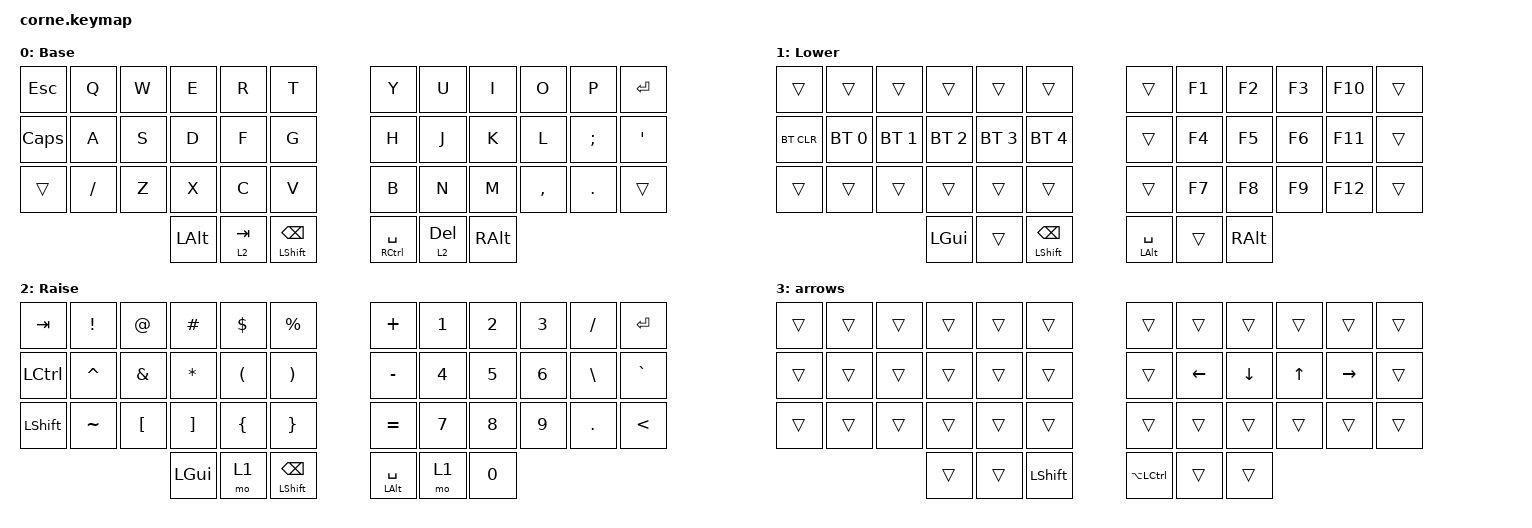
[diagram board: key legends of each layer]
/*
 * Copyright (c) 2020 The ZMK Contributors
 *
 * SPDX-License-Identifier: MIT
 */

#include <behaviors.dtsi>
#include <dt-bindings/zmk/bt.h>
#include <dt-bindings/zmk/keys.h>

/ {
    combos {
        compatible = "zmk,combos";

        arrows {
            bindings = <&mo 3>;
            key-positions = <15 16>;
        };
    };

    keymap {
        compatible = "zmk,keymap";

        default_layer {
            // -----------------------------------------------------------------------------------------
            // |  TAB |  Q  |  W  |  E  |  R  |   T   |   |  Y  |  U   |  I  |  O  |  P  | ESC |
            // | CTRL |  A  |  S  |  D  |  F  |   G   |   |  H  |  J   |  K  |  L  |  ;  |  '  |
            // | SHFT |  Z  |  X  |  C  |  V  |   B   |   |  N  |  M   |  ,  |  .  |  /  | ENT |
            //                    | GUI | LWR | BKSPC |   | SPC | RSE  | ALT |

            label = "Base";
            bindings = <
&kp ESCAPE  &kp Q      &kp W  &kp E         &kp R      &kp T                       &kp Y                    &kp U         &kp I     &kp O      &kp P       &kp ENTER
&kp CLCK    &kp A      &kp S  &kp D         &kp F      &kp G                       &kp H                    &kp J         &kp K     &kp L      &kp SEMI    &kp SQT
&trans      &kp SLASH  &kp Z  &kp X         &kp C      &kp V                       &kp B                    &kp N         &kp M     &kp COMMA  &kp PERIOD  &trans
                              &kp LEFT_ALT  &lt 2 TAB  &mt LEFT_SHIFT BACKSPACE    &mt RIGHT_CONTROL SPACE  &lt 2 DELETE  &kp RALT
            >;
        };

        lower_layer {
            // -----------------------------------------------------------------------------------------
            // |  TAB |  1  |  2  |  3  |  4  |   5   |   |  6  |  7  |  8  |  9  |  0  | ENT |
            // | BTCLR| BT1 | BT2 | BT3 | BT4 |  BT5  |   | LFT | DWN |  UP | RGT |     |     |
            // | SHFT |     |     |     |     |       |   |     |     |     |     |     |     |
            //                    | GUI |     | BKSPC |   | SPC |     | ALT |

            label = "Lower";
            bindings = <
&trans      &trans        &trans        &trans        &trans        &trans                      &trans              &kp F1  &kp F2    &kp F3  &kp F10  &trans
&bt BT_CLR  &bt BT_SEL 0  &bt BT_SEL 1  &bt BT_SEL 2  &bt BT_SEL 3  &bt BT_SEL 4                &trans              &kp F4  &kp F5    &kp F6  &kp F11  &trans
&trans      &trans        &trans        &trans        &trans        &trans                      &trans              &kp F7  &kp F8    &kp F9  &kp F12  &trans
                                        &kp LGUI      &trans        &mt LEFT_SHIFT BACKSPACE    &mt LEFT_ALT SPACE  &trans  &kp RALT
            >;
        };

        raise_layer {
            // -----------------------------------------------------------------------------------------
            // |  TAB |  !  |  @  |  #  |  $  |   %   |   |  ^  |  &  |  *  |  (  |  )  | ENT |
            // | CTRL |     |     |     |     |       |   |  -  |  =  |  [  |  ]  |  \  |  `  |
            // | SHFT |     |     |     |     |       |   |  _  |  +  |  {  |  }  | "|" |  ~  |
            //                    | GUI |     | BKSPC |   | SPC |     | ALT |

            label = "Raise";
            bindings = <
&kp TAB    &kp EXCL   &kp AT            &kp HASH           &kp DLLR              &kp PRCNT                   &kp PLUS            &kp N1  &kp N2  &kp N3  &kp SLASH      &kp ENTER
&kp LCTRL  &kp CARET  &kp AMPS          &kp ASTERISK       &kp LEFT_PARENTHESIS  &kp RIGHT_PARENTHESIS       &kp MINUS           &kp N4  &kp N5  &kp N6  &kp BACKSLASH  &kp GRAVE
&kp LSHFT  &kp TILDE  &kp LEFT_BRACKET  &kp RIGHT_BRACKET  &kp LEFT_BRACE        &kp RIGHT_BRACE             &kp EQUAL           &kp N7  &kp N8  &kp N9  &kp PERIOD     &kp LESS_THAN
                                        &kp LGUI           &mo 1                 &mt LEFT_SHIFT BACKSPACE    &mt LEFT_ALT SPACE  &mo 1   &kp N0
            >;
        };

        arrows {
            bindings = <
&trans  &trans  &trans  &trans  &trans  &trans            &trans                &trans          &trans          &trans        &trans     &trans
&trans  &trans  &trans  &trans  &trans  &trans            &trans                &kp LEFT_ARROW  &kp DOWN_ARROW  &kp UP_ARROW  &kp RIGHT  &trans
&trans  &trans  &trans  &trans  &trans  &trans            &trans                &trans          &trans          &trans        &trans     &trans
                        &trans  &trans  &kp LEFT_SHIFT    &kp LA(LEFT_CONTROL)  &trans          &trans
            >;
        };
    };
};
